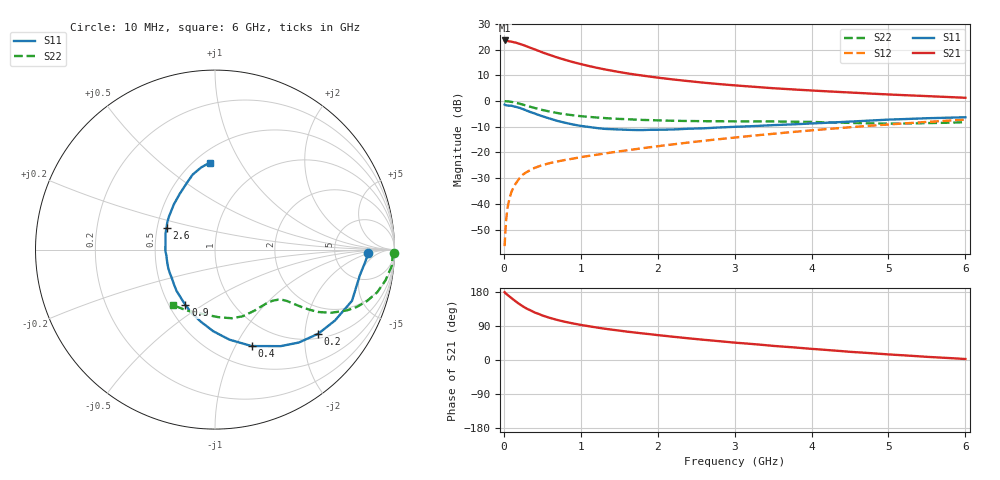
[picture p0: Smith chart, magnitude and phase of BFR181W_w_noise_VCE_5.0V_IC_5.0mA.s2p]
! Infineon Technologies  Discrete & RF Semiconductors
! BFR181W
! VCE =  5.0 V,  IC =  5.0 mA
! Common Emitter S-Parameters:  Jan 2017
# GHz  S  MA  R  50
!  f  S11  S21  S12  S22
! GHz  MAG  ANG  MAG  ANG  MAG  ANG  MAG  ANG
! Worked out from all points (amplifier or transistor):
!   77 points, 10 MHz to 6 GHz, reference 50 ohm
!   highest |S21| = 23.6 dB at 10 MHz (marker M1)
!   |S21| within 3 dB of that: start of sweep to 358.2 MHz
!   unconditionally stable (mu >= 1): 1.341 GHz to 3.385 GHz
!   at 130 MHz: K = 0.16, MSG = 28.2 dB, |S12| = -33.4 dB
!   at 2.2 GHz: K = 1.08, MAG = 10.9 dB, |S12| = -16.9 dB
!   at 6 GHz: K = 0.85, MSG = 4.3 dB, |S12| = -7.2 dB
!   lowest NFmin = 0.97 dB at 450 MHz
!   S11 on the Smith chart (normalised r, x): 10 MHz: 13, -2; 200 MHz: 1.12, -2.34; 400 MHz: 0.73, -1.17; 900 MHz: 0.60, -0.43; 2.6 GHz: 0.56, +0.15; 6 GHz: 0.59, +0.75
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0.01  0.8554 -1.3  15.15 178.9  0.0015 93.2  0.9984 -1.0
0.02  0.8367 -5.4  14.98 176.4  0.0029 95.6  0.9908 -1.8
0.04  0.8247 -8.4  14.84 173.1  0.0067 85.3  0.9893 -4.1
0.1  0.8149 -20.5  14.34 163.2  0.0172 79.8  0.9653 -10.2
0.15  0.7764 -30.6  13.8 155.4  0.0243 74.9  0.9341 -14.8
0.2  0.7419 -39.2  13.09 147.9  0.031 71.1  0.8938 -18.7
0.25  0.6976 -47.9  12.37 141.2  0.0374 66.8  0.8526 -22.0
0.3  0.6504 -55.8  11.58 135.3  0.0418 63.4  0.8099 -24.7
0.4  0.5748 -69.2  10.17 125.5  0.0501 60.1  0.7352 -28.6
0.5  0.5081 -80.9  8.898 117.6  0.0567 57.2  0.6731 -31.1
0.6  0.4551 -91.2  7.876 111.0  0.0622 55.9  0.6232 -32.5
0.7  0.4102 -100.9  7.013 105.4  0.067 55.8  0.5844 -33.4
0.9  0.3502 -118.0  5.737 96.4  0.076 56.1  0.5294 -34.6
1.1  0.3143 -132.9  4.84 89.3  0.0855 57.0  0.4937 -35.5
1.3  0.2886 -146.3  4.175 82.9  0.0949 58.0  0.4687 -36.7
1.6  0.2763 -163.7  3.477 74.9  0.11 59.6  0.4447 -39.1
2.1  0.2779 173.3  2.748 63.6  0.138 61.0  0.4178 -45.2
2.6  0.2955 156.0  2.281 53.3  0.1686 61.2  0.4066 -53.1
3.1  0.3197 141.7  1.974 44.3  0.2022 60.1  0.4024 -61.1
4.1  0.3727 120.6  1.579 28.0  0.2772 55.4  0.3894 -78.3
5.1  0.4412 105.1  1.326 13.5  0.3591 48.2  0.3653 -103.1
6  0.4852 93.6  1.161 2.6  0.4359 40.0  0.3888 -127.4
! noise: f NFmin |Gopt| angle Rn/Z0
0.45  0.97  0.33  16  0.23
0.9  1.03  0.3  30  0.23
1.9  1.44  0.15  80  0.2
2.4  1.59  0.13  94  0.22
